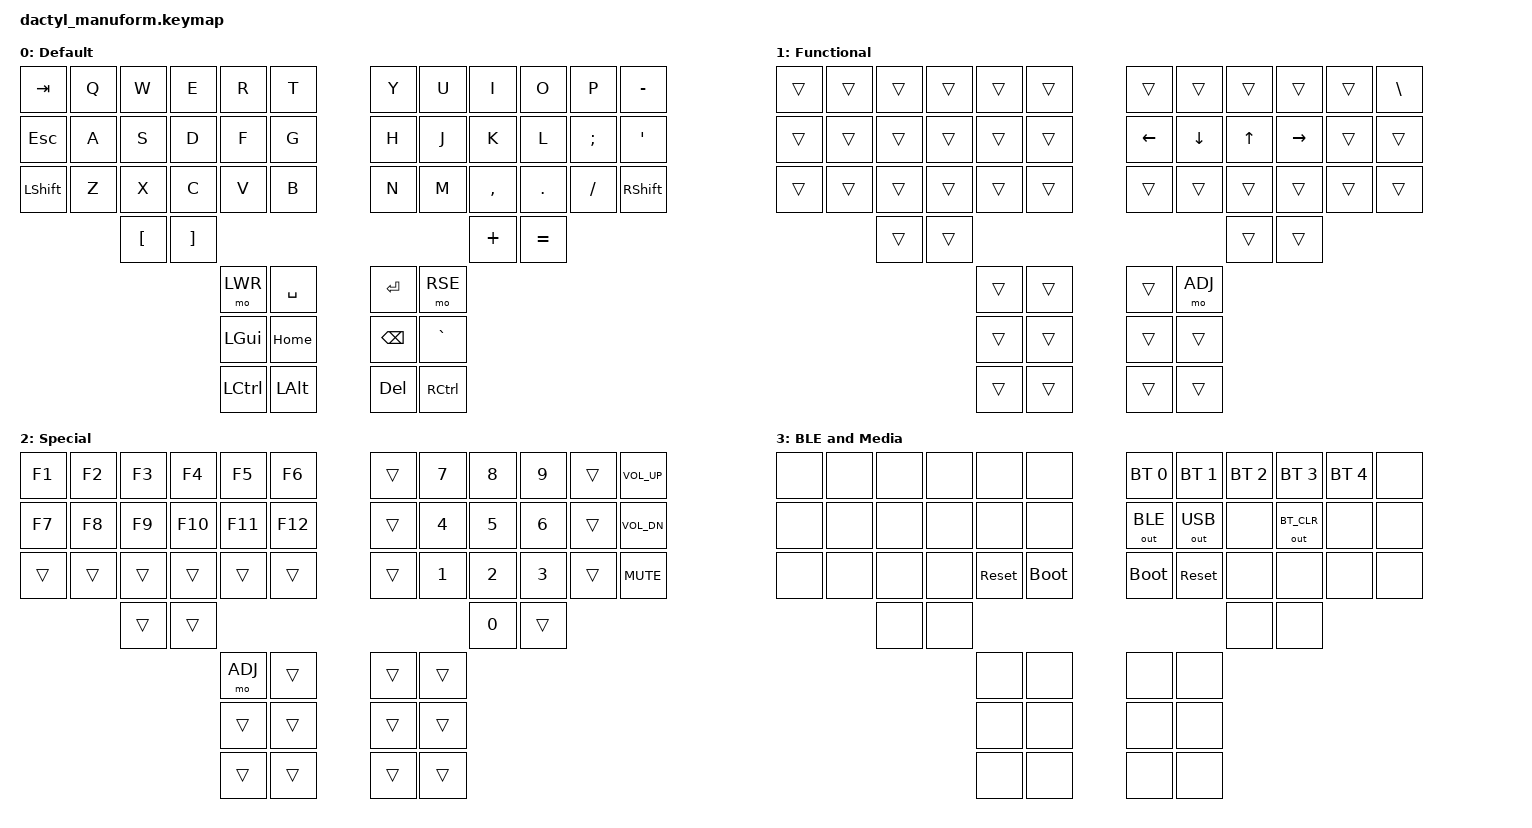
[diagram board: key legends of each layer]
/*
 * Copyright (c) 2020 The ZMK Contributors
 *
 * SPDX-License-Identifier: MIT
 */

#include <behaviors.dtsi>
#include <dt-bindings/zmk/keys.h>
#include <dt-bindings/zmk/bt.h>
#include <dt-bindings/zmk/outputs.h>
#include <dt-bindings/zmk/ext_power.h>

#define DEF 0
#define LWR 1
#define RSE 2
#define ADJ 3

/ {
    keymap {
        compatible = "zmk,keymap";

        default_layer { // layer 0
            display-name = "Default";
            bindings = <
                &kp TAB   &kp Q  &kp W  &kp E  &kp R  &kp T               &kp Y  &kp U  &kp I     &kp O   &kp P    &kp MINUS
                &kp ESC   &kp A  &kp S  &kp D  &kp F  &kp G               &kp H  &kp J  &kp K     &kp L   &kp SEMI &kp SQT
                &kp LSHFT &kp Z  &kp X  &kp C  &kp V  &kp B               &kp N  &kp M  &kp COMMA &kp DOT &kp FSLH &kp RSHIFT
                                 &kp LBKT &kp RBKT                                      &kp PLUS &kp EQUAL
                                            &mo LWR  &kp SPACE            &kp RET  &mo RSE
                                            &kp LGUI &kp HOME             &kp BSPC &kp GRAVE
                                            &kp LCTRL &kp LALT            &kp DEL  &kp RCTRL
            >;
        };

        lower_layer { // layer 1
            display-name = "Functional";
            bindings = <
                &trans  &trans &trans &trans &trans &trans                &trans   &trans   &trans   &trans    &trans    &kp BSLH
                &trans  &trans &trans &trans &trans &trans                &kp LEFT &kp DOWN &kp UP   &kp RIGHT &trans    &trans
                &trans  &trans &trans &trans &trans &trans                &trans   &trans   &trans   &trans    &trans    &trans
                               &trans &trans                                              &trans &trans
                                             &trans &trans                &trans &mo ADJ
                                             &trans &trans                &trans &trans
                                             &trans &trans                &trans &trans
            >;
        }; 

        raise_layer { // layer 2
            display-name = "Special";
            bindings = <
                &kp F1  &kp F2  &kp F3  &kp F4  &kp F5  &kp F6                &trans &kp N7 &kp N8 &kp N9 &trans &kp K_VOL_UP
                &kp F7  &kp F8  &kp F9  &kp F10 &kp F11 &kp F12               &trans &kp N4 &kp N5 &kp N6 &trans &kp K_VOL_DN
                &trans  &trans  &trans  &trans  &trans  &trans                &trans &kp N1 &kp N2 &kp N3 &trans &kp K_MUTE
                                &trans  &trans                                              &kp N0 &trans
                                                &mo ADJ &trans                &trans &trans
                                                &trans  &trans                &trans &trans
                                                &trans  &trans                &trans &trans
            >;
        };

        adjust_layer { // layer 3
            display-name = "BLE and Media";
            bindings = <
                &none  &none  &none  &none  &none       &none            &bt BT_SEL 0 &bt BT_SEL 1 &bt BT_SEL 2 &bt BT_SEL 3 &bt BT_SEL 4 &none
                &none  &none  &none  &none  &none       &none            &out OUT_BLE &out OUT_USB &none        &out BT_CLR  &none        &none
                &none  &none  &none  &none  &sys_reset  &bootloader      &bootloader  &sys_reset   &none        &none        &none        &none
                              &none  &none                                                         &none        &none
                                            &none       &none            &none        &none
                                            &none       &none            &none        &none
                                            &none       &none            &none        &none
            >;
        };
    };
};
